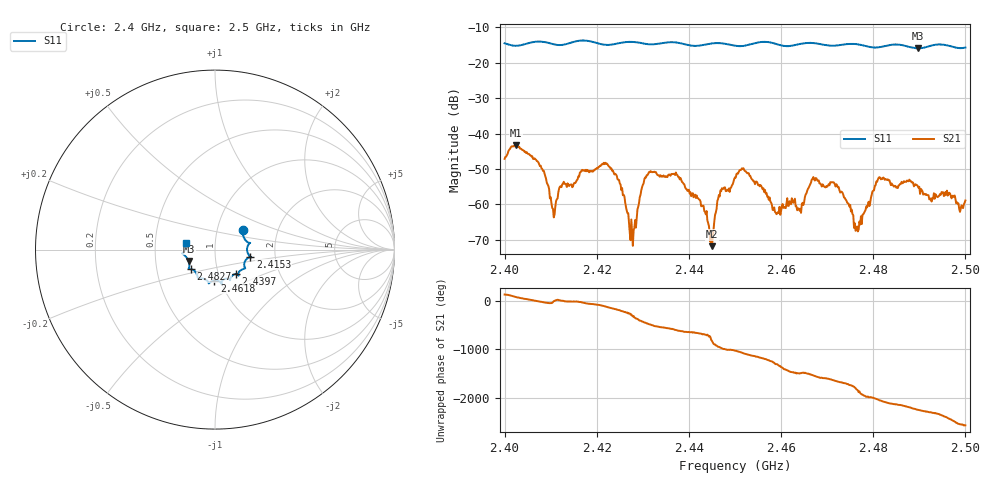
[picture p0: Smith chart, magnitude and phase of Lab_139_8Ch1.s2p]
# Hz S RI R 50
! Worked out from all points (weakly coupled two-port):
!   601 points, 2.4 GHz to 2.5 GHz, reference 50 ohm
!   highest |S21| = -43.30 dB at 2.4025 GHz (marker M1); lowest = -71.8 dB at 2.445 GHz (marker M2)
!   lowest |S11| = -15.9 dB at 2.4897 GHz (marker M3), VSWR 1.38, Z = 36.9 - j4.82 ohm
!   |S11| at or under -10 dB: start of sweep to end of sweep
!   S12 and S22 are empty: the file has one direction only
!   S11 on the Smith chart (normalised r, x): 2.4 GHz: 1.33, +0.30; 2.4153 GHz: 1.48, -0.12; 2.4397 GHz: 1.21, -0.34; 2.4618 GHz: 0.94, -0.33; 2.4827 GHz: 0.75, -0.17; 2.5 GHz: 0.72, +0.06
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2.4e9  0.1555 0.1071  -0.00244 0.00366  0 0  0 0
2.4025e9  0.1609 0.0666  0.00203 0.00653  0 0  0 0
2.408e9  0.1958 0.0378  0.00287 -0.00151  0 0  0 0
2.410667e9  0.1819 0.0187  0.000641 -0.000129  0 0  0 0
2.415333e9  0.1963 -0.0392  0.00186 -0.000741  0 0  0 0
2.416667e9  0.2022 -0.0433  0.00242 -0.00175  0 0  0 0
2.422667e9  0.1641 -0.0725  -0.00277 -0.002  0 0  0 0
2.427667e9  0.1679 -0.104  0.000261 0.000308  0 0  0 0
2.430333e9  0.1495 -0.1118  2.96e-05 -0.00228  0 0  0 0
2.433333e9  0.1298 -0.1339  -0.00257 -0.000104  0 0  0 0
2.439667e9  0.1168 -0.136  0.00039 0.0015  0 0  0 0
2.445e9  0.0839 -0.1684  -9.05e-05 -0.00024  0 0  0 0
2.446667e9  0.0845 -0.17  -0.000666 0.00111  0 0  0 0
2.45e9  0.0653 -0.162  0.0016 0.00181  0 0  0 0
2.461833e9  -0.00339 -0.1728  0.00106 -0.000305  0 0  0 0
2.466667e9  -0.0346 -0.1879  7.66e-05 -0.00224  0 0  0 0
2.472e9  -0.0702 -0.1612  -0.0015 0.0012  0 0  0 0
2.476333e9  -0.0956 -0.157  0.000395 -0.000178  0 0  0 0
2.482667e9  -0.135 -0.1087  0.000827 0.00213  0 0  0 0
2.483333e9  -0.1401 -0.1084  0.00139 0.00169  0 0  0 0
2.489667e9  -0.1468 -0.0636  7.83e-05 -0.00181  0 0  0 0
2.5e9  -0.1596 0.0388  0.000761 -0.000841  0 0  0 0
